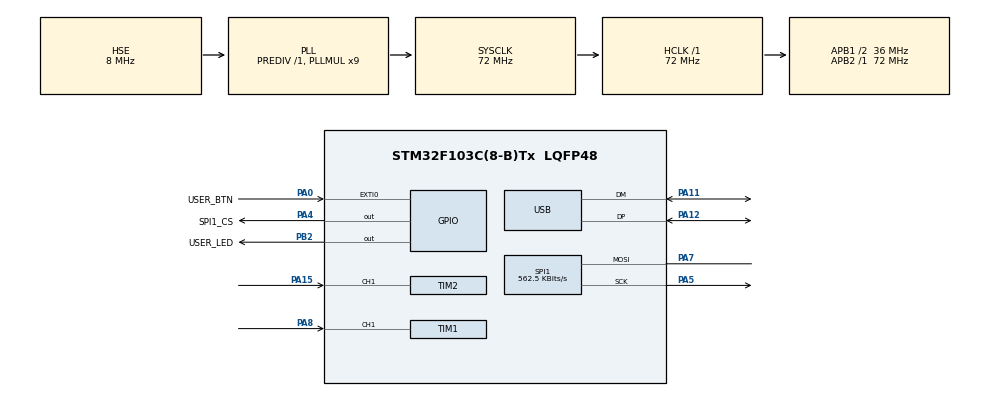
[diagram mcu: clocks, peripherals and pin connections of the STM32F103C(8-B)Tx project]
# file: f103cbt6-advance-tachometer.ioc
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Dma.Request0=SPI1_TX
Dma.SPI1_TX.0.Direction=DMA_MEMORY_TO_PERIPH
Dma.SPI1_TX.0.Instance=DMA1_Channel3
Dma.SPI1_TX.0.MemDataAlignment=DMA_MDATAALIGN_BYTE
Dma.SPI1_TX.0.MemInc=DMA_MINC_ENABLE
Dma.SPI1_TX.0.Mode=DMA_NORMAL
Dma.SPI1_TX.0.PeriphDataAlignment=DMA_PDATAALIGN_BYTE
Dma.SPI1_TX.0.PeriphInc=DMA_PINC_DISABLE
Dma.SPI1_TX.0.Priority=DMA_PRIORITY_LOW
Mcu.Family=STM32F1
Mcu.Name=STM32F103C(8-B)Tx
Mcu.Package=LQFP48
NVIC.DMA1_Channel3_IRQn=true\:0\:0\:false\:false\:true\:false\:true\:true
NVIC.PriorityGroup=NVIC_PRIORITYGROUP_4
NVIC.SPI1_IRQn=true\:0\:0\:false\:false\:true\:true\:true\:true
NVIC.TIM2_IRQn=true\:0\:0\:false\:false\:true\:true\:true\:true
NVIC.USB_LP_CAN1_RX0_IRQn=true\:0\:0\:false\:false\:true\:false\:true\:true
PA0-WKUP.GPIO_Label=USER_BTN
PA0-WKUP.Signal=GPXTI0
PA11.Mode=Device
PA11.Signal=USB_DM
PA12.Mode=Device
PA12.Signal=USB_DP
PA13.Mode=Serial_Wire
PA13.Signal=SYS_JTMS-SWDIO
PA14.Mode=Serial_Wire
PA14.Signal=SYS_JTCK-SWCLK
PA15.GPIO_PuPd=GPIO_PULLUP
PA15.Signal=S_TIM2_CH1_ETR
PA4.GPIO_Label=SPI1_CS
PA4.Signal=GPIO_Output
PA5.Mode=Simplex_Bidirectional_Master
PA5.Signal=SPI1_SCK
PA7.Mode=Simplex_Bidirectional_Master
PA7.Signal=SPI1_MOSI
PA8.Signal=S_TIM1_CH1
PB2.GPIO_Label=USER_LED
PB2.Signal=GPIO_Output
PC14-OSC32_IN.Mode=LSE-External-Oscillator
PC14-OSC32_IN.Signal=RCC_OSC32_IN
PC15-OSC32_OUT.Mode=LSE-External-Oscillator
PC15-OSC32_OUT.Signal=RCC_OSC32_OUT
PD0-OSC_IN.Mode=HSE-External-Oscillator
PD0-OSC_IN.Signal=RCC_OSC_IN
PD1-OSC_OUT.Mode=HSE-External-Oscillator
PD1-OSC_OUT.Signal=RCC_OSC_OUT
ProjectManager.HeapSize=0x200
ProjectManager.StackSize=0x400
ProjectManager.TargetToolchain=STM32CubeIDE
RCC.AHBFreq_Value=72000000
RCC.APB1CLKDivider=RCC_HCLK_DIV2
RCC.APB1Freq_Value=36000000
RCC.APB1TimFreq_Value=72000000
RCC.APB2Freq_Value=72000000
RCC.APB2TimFreq_Value=72000000
RCC.HCLKFreq_Value=72000000
RCC.PLLMUL=RCC_PLL_MUL9
RCC.SYSCLKFreq_VALUE=72000000
RCC.SYSCLKSource=RCC_SYSCLKSOURCE_PLLCLK
RCC.USBFreq_Value=48000000
RCC.USBPrescaler=RCC_USBCLKSOURCE_PLL_DIV1_5
SH.S_TIM1_CH1.0=TIM1_CH1,Input_Capture1_from_TI1
SH.S_TIM2_CH1_ETR.0=TIM2_CH1,Input_Capture1_from_TI1
SPI1.BaudRatePrescaler=SPI_BAUDRATEPRESCALER_128
SPI1.CLKPhase=SPI_PHASE_2EDGE
SPI1.CLKPolarity=SPI_POLARITY_HIGH
SPI1.CalculateBaudRate=562.5 KBits/s
SPI1.Direction=SPI_DIRECTION_1LINE
SPI1.FirstBit=SPI_FIRSTBIT_LSB
SPI1.Mode=SPI_MODE_MASTER
SPI1.VirtualType=VM_MASTER
TIM1.Channel-Input_Capture1_from_TI1=TIM_CHANNEL_1
TIM2.Channel-Input_Capture1_from_TI1=TIM_CHANNEL_1
TIM2.ICFilter_CH1=15
TIM2.Prescaler=7199
USB_DEVICE.CLASS_NAME_FS=CDC
USB_DEVICE.VirtualMode=Cdc
USB_DEVICE.VirtualModeFS=Cdc_FS
VP_TIM2_VS_ClockSourceINT.Mode=Internal
VP_USB_DEVICE_VS_USB_DEVICE_CDC_FS.Mode=CDC_FS
board=custom

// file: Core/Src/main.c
/* USER CODE BEGIN Header */
/**
 ******************************************************************************
 * @file           : main.c
 * @brief          : Main program body
 ******************************************************************************
 * @attention
 *
 * Copyright (c) 2025 STMicroelectronics.
 * All rights reserved.
 *
 * This software is licensed under terms that can be found in the LICENSE file
 * in the root directory of this software component.
 * If no LICENSE file comes with this software, it is provided AS-IS.
 *
 ******************************************************************************
 */
/* USER CODE END Header */
#include "main.h"
#include "usb_device.h"

/* USER CODE BEGIN Includes */
#include "usbd_cdc_if.h" // Wajib untuk komunikasi USB
#include <stdio.h>		 // Untuk sprintf
#include <tm1638.h>
/* USER CODE END Includes */

SPI_HandleTypeDef hspi1;
DMA_HandleTypeDef hdma_spi1_tx;

TIM_HandleTypeDef htim1;
TIM_HandleTypeDef htim2;

/* USER CODE BEGIN PV */
// Variabel Timer
uint32_t IC_Value1 = 0;
uint32_t IC_Value2 = 0;
uint32_t Difference = 0;
uint8_t Is_First_Captured = 0;

// Variabel Data
volatile uint32_t Total_Pulse = 0;		 // Total pulsa terbaca
float Frequency = 0.0;					 // Frekuensi sinyal (Hz)
float RPM = 0.0;						 // RPM
volatile uint32_t Last_Capture_Time = 0; // Waktu terakhir capture
float Max_RPM = 0.0f;
float Min_RPM = 0.0f;
uint8_t Display_Mode = 0; // 0:RPM, 1:Freq, 2:Count, 3:Max, 4:Min

// Buffer untuk pengiriman USB
uint8_t txBuffer[64];

// tampilan di tm1638
uint8_t buttons;
uint8_t last_buttons = 0;
uint8_t pcf_state = 0;
char display_str[9] = "        ";
/* USER CODE END PV */

void SystemClock_Config(void);
static void MX_GPIO_Init(void);
static void MX_DMA_Init(void);
static void MX_TIM2_Init(void);
static void MX_SPI1_Init(void);
static void MX_TIM1_Init(void);

int main(void)
{

	/* MCU Configuration--------------------------------------------------------*/

	/* Reset of all peripherals, Initializes the Flash interface and the Systick. */
	HAL_Init();

	/* Configure the system clock */
	SystemClock_Config();

	/* Initialize all configured peripherals */
	MX_GPIO_Init();
	MX_DMA_Init();
	MX_TIM2_Init();
	MX_USB_DEVICE_Init();
	MX_SPI1_Init();
	MX_TIM1_Init();
	/* USER CODE BEGIN 2 */
	// aktifkan timer 2
	HAL_TIM_IC_Start_IT(&htim2, TIM_CHANNEL_1);

	// inisialisasi awal tm1638
	TM1638_Init();
	TM1638_DisplayString("123");
	HAL_Delay(3000);
	TM1638_Clear();
	/* USER CODE END 2 */

	/* Infinite loop */
	/* USER CODE BEGIN WHILE */
	while (1)
	{
		// 1. Baca tombol (Blocking sebentar, tapi sangat cepat)
		buttons = TM1638_ReadButtons();

		// Cek timeout 3 detik (3000 ms)
		if ((HAL_GetTick() - Last_Capture_Time) > 3000)
		{
			RPM = 0.0f;
			Frequency = 0.0f;
		}

		// ... logic tombol ...
		if (buttons != last_buttons)
		{
			// Cek tombol mana yang ditekan (Active High)
			if (buttons & 0x01) Display_Mode = 0; // Tombol 1: RPM
			if (buttons & 0x02) Display_Mode = 1; // Tombol 2: Frekuensi
			if (buttons & 0x04) Display_Mode = 2; // Tombol 3: Counter
			if (buttons & 0x08) Display_Mode = 3; // Tombol 4: Max RPM
			if (buttons & 0x10) Display_Mode = 4; // Tombol 5: Min RPM
			if (buttons & 0x20) {                 // Tombol 6: Reset
				Total_Pulse = 0;
				Max_RPM = 0.0f;
				Min_RPM = 0.0f;
			}

			pcf_state = buttons;
			last_buttons = buttons;
		}

		// Update display string berdasarkan mode
		switch (Display_Mode) {
			case 0: // RPM
				sprintf(display_str, "%8lu", (uint32_t)RPM);
				break;
			case 1: // Frequency (1 desimal)
				sprintf(display_str, "%9.2f", Frequency);
				break;
			case 2: // Total Pulse
				sprintf(display_str, "%8lu", Total_Pulse);
				break;
			case 3: // Max RPM
				sprintf(display_str, "%8lu", (uint32_t)Max_RPM);
				break;
			case 4: // Min RPM
				sprintf(display_str, "%8lu", (uint32_t)Min_RPM);
				break;
			default:
				sprintf(display_str, "%8lu", (uint32_t)RPM);
				break;
		}

		// 3. Kirim ke Display pakai DMA
		// Fungsi ini hanya memakan waktu ~1-2 us untuk setup DMA,
		// sisanya dikerjakan hardware di background.
		TM1638_SendDMA(display_str, pcf_state);

		// 1. Format data menjadi String
		int len = sprintf((char *)txBuffer,
						  "RPM: %.2f | Freq: %.2f Hz | Total: %lu\r\n", RPM, Frequency,
						  Total_Pulse);

		// 2. Kirim via USB CDC
		CDC_Transmit_FS(txBuffer, len);

		// 3. Delay agar tidak membanjiri buffer USB PC
		HAL_Delay(100);
		/* USER CODE END WHILE */

	}
}

void SystemClock_Config(void)
{
	RCC_OscInitTypeDef RCC_OscInitStruct = {0};
	RCC_ClkInitTypeDef RCC_ClkInitStruct = {0};
	RCC_PeriphCLKInitTypeDef PeriphClkInit = {0};

	/** Initializes the RCC Oscillators according to the specified parameters
	 * in the RCC_OscInitTypeDef structure.
	 */
	RCC_OscInitStruct.OscillatorType = RCC_OSCILLATORTYPE_HSE;
	RCC_OscInitStruct.HSEState = RCC_HSE_ON;
	RCC_OscInitStruct.HSEPredivValue = RCC_HSE_PREDIV_DIV1;
	RCC_OscInitStruct.HSIState = RCC_HSI_ON;
	RCC_OscInitStruct.PLL.PLLState = RCC_PLL_ON;
	RCC_OscInitStruct.PLL.PLLSource = RCC_PLLSOURCE_HSE;
	RCC_OscInitStruct.PLL.PLLMUL = RCC_PLL_MUL9;
	if (HAL_RCC_OscConfig(&RCC_OscInitStruct) != HAL_OK)
	{
		Error_Handler();
	}

	/** Initializes the CPU, AHB and APB buses clocks
	 */
	RCC_ClkInitStruct.ClockType = RCC_CLOCKTYPE_HCLK | RCC_CLOCKTYPE_SYSCLK | RCC_CLOCKTYPE_PCLK1 | RCC_CLOCKTYPE_PCLK2;
	RCC_ClkInitStruct.SYSCLKSource = RCC_SYSCLKSOURCE_PLLCLK;
	RCC_ClkInitStruct.AHBCLKDivider = RCC_SYSCLK_DIV1;
	RCC_ClkInitStruct.APB1CLKDivider = RCC_HCLK_DIV2;
	RCC_ClkInitStruct.APB2CLKDivider = RCC_HCLK_DIV1;

	if (HAL_RCC_ClockConfig(&RCC_ClkInitStruct, FLASH_LATENCY_2) != HAL_OK)
	{
		Error_Handler();
	}
	PeriphClkInit.PeriphClockSelection = RCC_PERIPHCLK_USB;
	PeriphClkInit.UsbClockSelection = RCC_USBCLKSOURCE_PLL_DIV1_5;
	if (HAL_RCCEx_PeriphCLKConfig(&PeriphClkInit) != HAL_OK)
	{
		Error_Handler();
	}
}

static void MX_SPI1_Init(void)
{

	/* SPI1 parameter configuration*/
	hspi1.Instance = SPI1;
	hspi1.Init.Mode = SPI_MODE_MASTER;
	hspi1.Init.Direction = SPI_DIRECTION_1LINE;
	hspi1.Init.DataSize = SPI_DATASIZE_8BIT;
	hspi1.Init.CLKPolarity = SPI_POLARITY_HIGH;
	hspi1.Init.CLKPhase = SPI_PHASE_2EDGE;
	hspi1.Init.NSS = SPI_NSS_SOFT;
	hspi1.Init.BaudRatePrescaler = SPI_BAUDRATEPRESCALER_128;
	hspi1.Init.FirstBit = SPI_FIRSTBIT_LSB;
	hspi1.Init.TIMode = SPI_TIMODE_DISABLE;
	hspi1.Init.CRCCalculation = SPI_CRCCALCULATION_DISABLE;
	hspi1.Init.CRCPolynomial = 10;
	if (HAL_SPI_Init(&hspi1) != HAL_OK)
	{
		Error_Handler();
	}
}

static void MX_TIM1_Init(void)
{

	TIM_MasterConfigTypeDef sMasterConfig = {0};
	TIM_IC_InitTypeDef sConfigIC = {0};

	htim1.Instance = TIM1;
	htim1.Init.Prescaler = 0;
	htim1.Init.CounterMode = TIM_COUNTERMODE_UP;
	htim1.Init.Period = 65535;
	htim1.Init.ClockDivision = TIM_CLOCKDIVISION_DIV1;
	htim1.Init.RepetitionCounter = 0;
	htim1.Init.AutoReloadPreload = TIM_AUTORELOAD_PRELOAD_DISABLE;
	if (HAL_TIM_IC_Init(&htim1) != HAL_OK)
	{
		Error_Handler();
	}
	sMasterConfig.MasterOutputTrigger = TIM_TRGO_RESET;
	sMasterConfig.MasterSlaveMode = TIM_MASTERSLAVEMODE_DISABLE;
	if (HAL_TIMEx_MasterConfigSynchronization(&htim1, &sMasterConfig) != HAL_OK)
	{
		Error_Handler();
	}
	sConfigIC.ICPolarity = TIM_INPUTCHANNELPOLARITY_RISING;
	sConfigIC.ICSelection = TIM_ICSELECTION_DIRECTTI;
	sConfigIC.ICPrescaler = TIM_ICPSC_DIV1;
	sConfigIC.ICFilter = 0;
	if (HAL_TIM_IC_ConfigChannel(&htim1, &sConfigIC, TIM_CHANNEL_1) != HAL_OK)
	{
		Error_Handler();
	}
}

static void MX_TIM2_Init(void)
{

	TIM_ClockConfigTypeDef sClockSourceConfig = {0};
	TIM_MasterConfigTypeDef sMasterConfig = {0};
	TIM_IC_InitTypeDef sConfigIC = {0};

	htim2.Instance = TIM2;
	htim2.Init.Prescaler = 7199;
	htim2.Init.CounterMode = TIM_COUNTERMODE_UP;
	htim2.Init.Period = 65535;
	htim2.Init.ClockDivision = TIM_CLOCKDIVISION_DIV1;
	htim2.Init.AutoReloadPreload = TIM_AUTORELOAD_PRELOAD_DISABLE;
	if (HAL_TIM_Base_Init(&htim2) != HAL_OK)
	{
		Error_Handler();
	}
	sClockSourceConfig.ClockSource = TIM_CLOCKSOURCE_INTERNAL;
	if (HAL_TIM_ConfigClockSource(&htim2, &sClockSourceConfig) != HAL_OK)
	{
		Error_Handler();
	}
	if (HAL_TIM_IC_Init(&htim2) != HAL_OK)
	{
		Error_Handler();
	}
	sMasterConfig.MasterOutputTrigger = TIM_TRGO_RESET;
	sMasterConfig.MasterSlaveMode = TIM_MASTERSLAVEMODE_DISABLE;
	if (HAL_TIMEx_MasterConfigSynchronization(&htim2, &sMasterConfig) != HAL_OK)
	{
		Error_Handler();
	}
	sConfigIC.ICPolarity = TIM_INPUTCHANNELPOLARITY_RISING;
	sConfigIC.ICSelection = TIM_ICSELECTION_DIRECTTI;
	sConfigIC.ICPrescaler = TIM_ICPSC_DIV1;
	sConfigIC.ICFilter = 15;
	if (HAL_TIM_IC_ConfigChannel(&htim2, &sConfigIC, TIM_CHANNEL_1) != HAL_OK)
	{
		Error_Handler();
	}
}

static void MX_DMA_Init(void)
{

	/* DMA controller clock enable */
	__HAL_RCC_DMA1_CLK_ENABLE();

	/* DMA interrupt init */
	/* DMA1_Channel3_IRQn interrupt configuration */
	HAL_NVIC_SetPriority(DMA1_Channel3_IRQn, 0, 0);
	HAL_NVIC_EnableIRQ(DMA1_Channel3_IRQn);
}

static void MX_GPIO_Init(void)
{
	GPIO_InitTypeDef GPIO_InitStruct = {0};

	/* GPIO Ports Clock Enable */
	__HAL_RCC_GPIOC_CLK_ENABLE();
	__HAL_RCC_GPIOD_CLK_ENABLE();
	__HAL_RCC_GPIOA_CLK_ENABLE();
	__HAL_RCC_GPIOB_CLK_ENABLE();

	/*Configure GPIO pin Output Level */
	HAL_GPIO_WritePin(SPI1_CS_GPIO_Port, SPI1_CS_Pin, GPIO_PIN_RESET);

	/*Configure GPIO pin Output Level */
	HAL_GPIO_WritePin(USER_LED_GPIO_Port, USER_LED_Pin, GPIO_PIN_RESET);

	/*Configure GPIO pin : USER_BTN_Pin */
	GPIO_InitStruct.Pin = USER_BTN_Pin;
	GPIO_InitStruct.Mode = GPIO_MODE_IT_RISING;
	GPIO_InitStruct.Pull = GPIO_NOPULL;
	HAL_GPIO_Init(USER_BTN_GPIO_Port, &GPIO_InitStruct);

	/*Configure GPIO pin : SPI1_CS_Pin */
	GPIO_InitStruct.Pin = SPI1_CS_Pin;
	GPIO_InitStruct.Mode = GPIO_MODE_OUTPUT_PP;
	GPIO_InitStruct.Pull = GPIO_NOPULL;
	GPIO_InitStruct.Speed = GPIO_SPEED_FREQ_LOW;
	HAL_GPIO_Init(SPI1_CS_GPIO_Port, &GPIO_InitStruct);

	/*Configure GPIO pin : USER_LED_Pin */
	GPIO_InitStruct.Pin = USER_LED_Pin;
	GPIO_InitStruct.Mode = GPIO_MODE_OUTPUT_PP;
	GPIO_InitStruct.Pull = GPIO_NOPULL;
	GPIO_InitStruct.Speed = GPIO_SPEED_FREQ_LOW;
	HAL_GPIO_Init(USER_LED_GPIO_Port, &GPIO_InitStruct);

}

/* USER CODE BEGIN 4 */
void HAL_TIM_IC_CaptureCallback(TIM_HandleTypeDef *htim)
{
	if (htim->Instance == TIM2)
	{
		Last_Capture_Time = HAL_GetTick(); // Update waktu capture
		// Setiap kali masuk sini, artinya ada 1 pulsa (rising edge)
		Total_Pulse++;

		if (Is_First_Captured == 0)
		{
			IC_Value1 = HAL_TIM_ReadCapturedValue(htim, TIM_CHANNEL_1);
			Is_First_Captured = 1;
		}
		else
		{
			IC_Value2 = HAL_TIM_ReadCapturedValue(htim, TIM_CHANNEL_1);

			if (IC_Value2 > IC_Value1)
			{
				Difference = IC_Value2 - IC_Value1;
			}
			else if (IC_Value1 > IC_Value2)
			{
				Difference = (0xFFFF - IC_Value1) + IC_Value2;
			}

			// Kalkulasi Fisika
			// Software Filter: Abaikan jika Difference < 50 (setara > 12.000 RPM)
			// Ini akan menghilangkan spike 600.000 RPM (Difference = 1)
			if (Difference > 50)
			{
				// Frekuensi = 10.000 / Periode (dalam mikrosekon)
				Frequency = 10000.0f / (float)Difference;

				// RPM = Frekuensi * 60
				RPM = Frequency * 60.0f;

				// Update Max & Min RPM
				if (RPM > Max_RPM) Max_RPM = RPM;
				if (RPM < Min_RPM || Min_RPM == 0.0f) Min_RPM = RPM;
			}

			Is_First_Captured = 0;
		}
	}
}
/* USER CODE END 4 */

void Error_Handler(void)
{
	__disable_irq();
	while (1)
	{
	}
}
